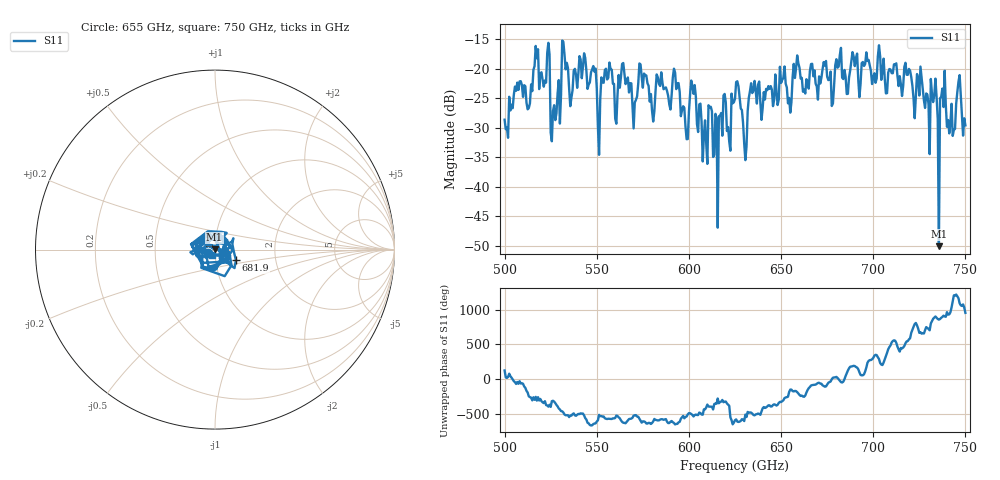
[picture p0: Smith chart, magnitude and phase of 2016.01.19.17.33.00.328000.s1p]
!Created with skrf (http://scikit-rf.org).
# GHz S RI R 50.0
!freq ReS11 ImS11
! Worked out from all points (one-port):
!   401 points, 500 GHz to 750 GHz, reference 50 ohm
!   lowest |S11| = -50.1 dB at 735.6 GHz (marker M1), VSWR 1.01, Z = 49.8 + j0.201 ohm
!   |S11| at or under -10 dB: start of sweep to end of sweep
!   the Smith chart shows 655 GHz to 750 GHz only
!   S11 on the Smith chart (normalised r, x): 655 GHz: 0.93, -0.04; 681.9 GHz: 1.25, -0.15; 750 GHz: 0.96, -0.05
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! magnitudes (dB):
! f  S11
! 500 GHz  -28.7
! 513.8 GHz  -25.9
! 516.9 GHz  -16.2
! 523.1 GHz  -17.3
! 526.2 GHz  -27.2
! 531.2 GHz  -15.2
! 548.1 GHz  -19.6
! 551.2 GHz  -34.6
! 553.8 GHz  -22.4
! 562.5 GHz  -23.2
! 593.8 GHz  -22.5
! 598.8 GHz  -32.0
! 602.5 GHz  -24.3
! 608.8 GHz  -28.8
! 611.9 GHz  -26.5
! 614.4 GHz  -27.7
! 625 GHz  -25.1
! 630.6 GHz  -35.5
! 634.4 GHz  -24.2
! 655 GHz  -27.5
! 656.2 GHz  -21.5
! 681.9 GHz  -17.7
! 687.5 GHz  -20.3
! 718.8 GHz  -21.1
! 732.5 GHz  -25.7
! 735.6 GHz  -50.1
! 737.5 GHz  -23.4
! 750 GHz  -29.6
